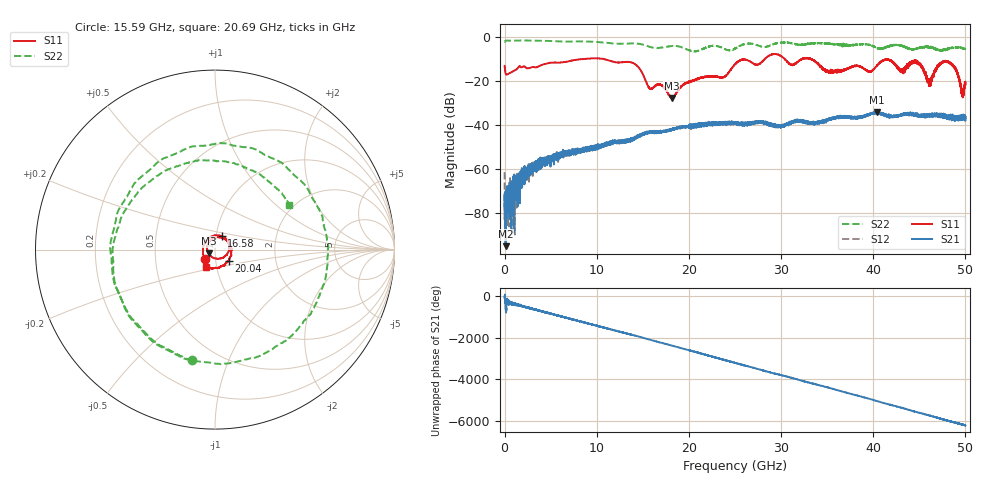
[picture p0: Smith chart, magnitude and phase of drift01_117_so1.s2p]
!Created with skrf (http://scikit-rf.org).
# Hz S RI R 50.0
!freq ReS11 ImS11 ReS21 ImS21 ReS12 ImS12 ReS22 ImS22
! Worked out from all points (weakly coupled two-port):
!   10001 points, 300 kHz to 50 GHz, reference 50 ohm
!   highest |S21| = -34.03 dB at 40.37 GHz (marker M1); lowest = -95.2 dB at 110.3 MHz (marker M2)
!   lowest |S11| = -27.6 dB at 18.15 GHz (marker M3), VSWR 1.09, Z = 46.5 - j2.02 ohm
!   |S11| at or under -10 dB: start of sweep to 8.084 GHz; 10.91 GHz to 25.91 GHz (15 GHz wide, 81.5 % of centre); 41.57 GHz to end of sweep (the widest 3 of 13)
!   |S22| runs from -6.4 to -1.4 dB; largest |S21 - S12| = 0.0039
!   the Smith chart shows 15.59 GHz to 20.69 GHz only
!   S11 on the Smith chart (normalised r, x): 15.59 GHz: 0.89, -0.10; 16.58 GHz: 1.07, +0.16; 20.04 GHz: 1.16, -0.15; 20.69 GHz: 0.89, -0.17
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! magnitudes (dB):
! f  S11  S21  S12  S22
! 300 kHz  -12.9  -72.2  -61.5  -2.1
! 110.3 MHz  -16.4  -95.2  -79.4  -1.5
! 255.3 MHz  -16.9  -71.0  -73.4  -1.4
! 2.965 GHz  -13.5  -58.8  -58.6  -1.4
! 8.335 GHz  -9.9  -51.5  -51.5  -1.8
! 13.87 GHz  -11.5  -46.1  -46.0  -2.7
! 15.59 GHz  -22.3  -43.7  -43.7  -4.0
! 16.58 GHz  -21.5  -43.5  -43.1  -4.7
! 16.67 GHz  -21.4  -43.0  -43.0  -4.8
! 18.15 GHz  -27.6  -41.6  -42.0  -3.9
! 20.04 GHz  -20.1  -41.2  -40.6  -5.9
! 20.69 GHz  -19.2  -40.2  -39.8  -6.3
! 25 GHz  -12.2  -38.9  -39.1  -5.1
! 33.34 GHz  -10.1  -38.8  -39.3  -2.7
! 35.28 GHz  -15.8  -37.0  -37.6  -2.8
! 40.37 GHz  -12.9  -34.0  -34.3  -4.7
! 41.67 GHz  -10.2  -35.6  -36.1  -4.1
! 43.08 GHz  -15.1  -35.1  -35.5  -3.8
! 44.82 GHz  -11.0  -35.4  -35.2  -5.0
! 46.12 GHz  -19.8  -36.0  -35.4  -4.3
! 48.04 GHz  -11.2  -36.2  -36.3  -5.3
! 50 GHz  -21.4  -36.4  -36.2  -5.3
